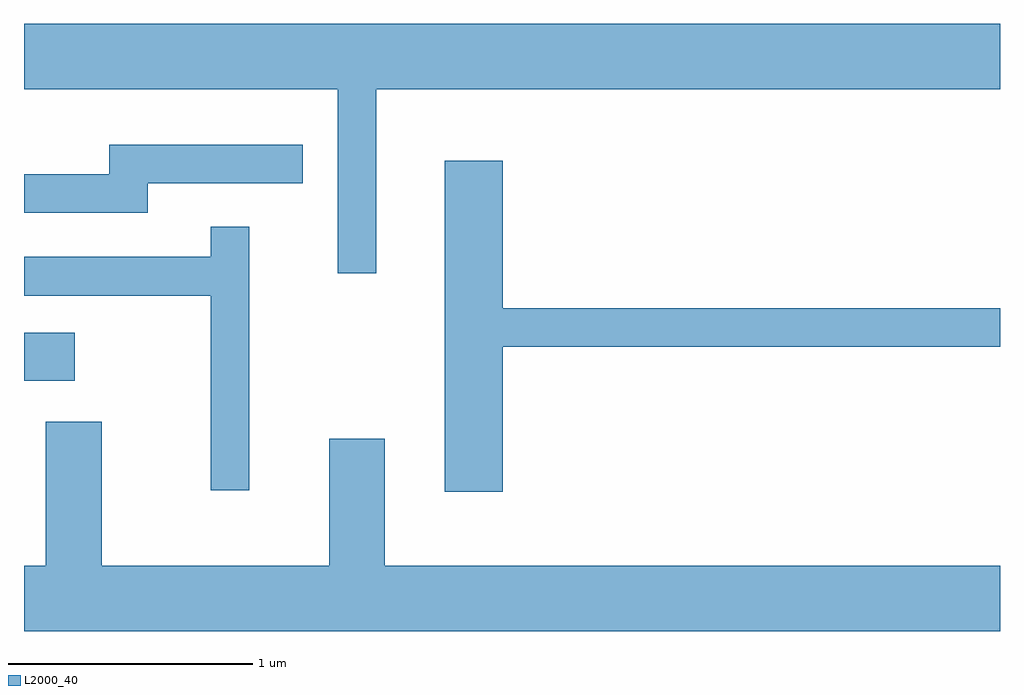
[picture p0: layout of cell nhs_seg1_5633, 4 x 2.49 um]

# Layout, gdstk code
import gdstk
lib = gdstk.Library(unit=1e-6, precision=1e-09)
def R(c, l, rs):  # rectangles x0, y0, x1, y1
    for r in rs: c.add(gdstk.rectangle(r[:2], r[2:], *l))
def P(c, l, *ps):  # polygons
    for p in ps: c.add(gdstk.Polygon(p, *l))
L2000_40 = (2000, 40)

nhs_seg1_5633 = lib.new_cell('nhs_seg1_5633')
R(nhs_seg1_5633, L2000_40, [(355.611,856.201,355.819,856.399)])
P(nhs_seg1_5633, L2000_40, [(357.054,857.396),(359.611,857.396),(359.611,857.664),(355.611,857.664),(355.611,857.396),(356.896,857.396),(356.896,856.643),(357.054,856.643)],
  [(356.119,857.011),(356.753,857.011),(356.753,857.169),(355.961,857.169),(355.961,857.049),(355.611,857.049),(355.611,856.891),(356.119,856.891)],
  [(357.574,856.341),(359.611,856.341),(359.611,856.499),(357.574,856.499),(357.574,857.104),(357.336,857.104),(357.336,855.746),(357.574,855.746)],
  [(356.534,856.833),(356.376,856.833),(356.376,856.709),(355.611,856.709),(355.611,856.551),(356.376,856.551),(356.376,855.753),(356.534,855.753)],
  [(359.611,855.444),(357.089,855.444),(357.089,855.964),(356.861,855.964),(356.861,855.444),(355.929,855.444),(355.929,856.034),(355.701,856.034),(355.701,855.444),(355.611,855.444),(355.611,855.176),(359.611,855.176)])

lib.write_gds('nhs_seg1_5633.gds')
